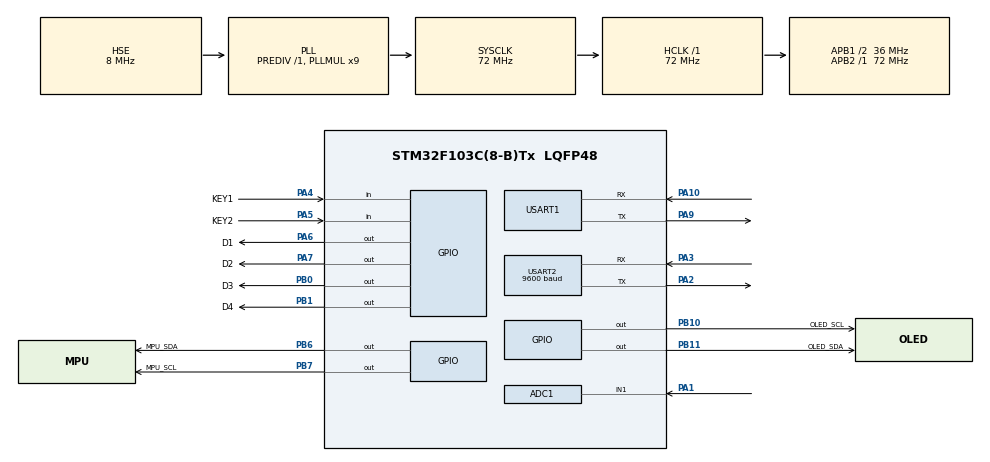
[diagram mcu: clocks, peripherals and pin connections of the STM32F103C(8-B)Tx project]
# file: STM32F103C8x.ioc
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ADC1.Channel-0\#ChannelRegularConversion=ADC_CHANNEL_1
ADC1.ContinuousConvMode=ENABLE
ADC1.NbrOfConversionFlag=1
ADC1.Rank-0\#ChannelRegularConversion=1
ADC1.SamplingTime-0\#ChannelRegularConversion=ADC_SAMPLETIME_1CYCLE_5
ADC1.master=1
Dma.ADC1.0.Direction=DMA_PERIPH_TO_MEMORY
Dma.ADC1.0.Instance=DMA1_Channel1
Dma.ADC1.0.MemDataAlignment=DMA_MDATAALIGN_HALFWORD
Dma.ADC1.0.MemInc=DMA_MINC_ENABLE
Dma.ADC1.0.Mode=DMA_NORMAL
Dma.ADC1.0.PeriphDataAlignment=DMA_PDATAALIGN_HALFWORD
Dma.ADC1.0.PeriphInc=DMA_PINC_DISABLE
Dma.ADC1.0.Priority=DMA_PRIORITY_LOW
Dma.Request0=ADC1
Mcu.Family=STM32F1
Mcu.Name=STM32F103C(8-B)Tx
Mcu.Package=LQFP48
NVIC.DMA1_Channel1_IRQn=true\:0\:0\:false\:false\:true\:false\:true
NVIC.PriorityGroup=NVIC_PRIORITYGROUP_4
NVIC.TIM2_IRQn=true\:1\:0\:true\:true\:true\:1\:true\:true
NVIC.USART1_IRQn=true\:5\:0\:true\:false\:true\:true\:true
NVIC.USART2_IRQn=true\:5\:0\:true\:true\:true\:2\:true\:true
PA1.Signal=ADCx_IN1
PA10.Mode=Asynchronous
PA10.Signal=USART1_RX
PA13.Mode=Serial_Wire
PA13.Signal=SYS_JTMS-SWDIO
PA14.Mode=Serial_Wire
PA14.Signal=SYS_JTCK-SWCLK
PA2.Mode=Asynchronous
PA2.Signal=USART2_TX
PA3.Mode=Asynchronous
PA3.Signal=USART2_RX
PA4.GPIO_Label=KEY1
PA4.GPIO_PuPd=GPIO_PULLUP
PA4.Signal=GPIO_Input
PA5.GPIO_Label=KEY2
PA5.GPIO_PuPd=GPIO_PULLUP
PA5.Signal=GPIO_Input
PA6.GPIO_Label=D1
PA6.PinState=GPIO_PIN_SET
PA6.Signal=GPIO_Output
PA7.GPIO_Label=D2
PA7.PinState=GPIO_PIN_SET
PA7.Signal=GPIO_Output
PA9.Mode=Asynchronous
PA9.Signal=USART1_TX
PB0.GPIO_Label=D3
PB0.PinState=GPIO_PIN_SET
PB0.Signal=GPIO_Output
PB1.GPIO_Label=D4
PB1.PinState=GPIO_PIN_SET
PB1.Signal=GPIO_Output
PB10.GPIO_Label=OLED_SCL
PB10.Signal=GPIO_Output
PB11.GPIO_Label=OLED_SDA
PB11.Signal=GPIO_Output
PB6.GPIO_Label=MPU_SDA
PB6.GPIO_ModeDefaultOutputPP=GPIO_MODE_OUTPUT_OD
PB6.Signal=GPIO_Output
PB7.GPIO_Label=MPU_SCL
PB7.GPIO_ModeDefaultOutputPP=GPIO_MODE_OUTPUT_OD
PB7.Signal=GPIO_Output
PD0-OSC_IN.Mode=HSE-External-Oscillator
PD0-OSC_IN.Signal=RCC_OSC_IN
PD1-OSC_OUT.Mode=HSE-External-Oscillator
PD1-OSC_OUT.Signal=RCC_OSC_OUT
ProjectManager.HeapSize=0x800
ProjectManager.StackSize=0x2000
ProjectManager.TargetToolchain=MDK-ARM V5
RCC.ADCPresc=RCC_ADCPCLK2_DIV6
RCC.AHBFreq_Value=72000000
RCC.APB1CLKDivider=RCC_HCLK_DIV2
RCC.APB1Freq_Value=36000000
RCC.APB1TimFreq_Value=72000000
RCC.APB2Freq_Value=72000000
RCC.APB2TimFreq_Value=72000000
RCC.HCLKFreq_Value=72000000
RCC.PLLMUL=RCC_PLL_MUL9
RCC.PLLSourceVirtual=RCC_PLLSOURCE_HSE
RCC.SYSCLKFreq_VALUE=72000000
RCC.SYSCLKSource=RCC_SYSCLKSOURCE_PLLCLK
RCC.USBFreq_Value=72000000
SH.ADCx_IN1.0=ADC1_IN1,IN1
TIM2.Period=10-1
TIM2.Prescaler=7200-1
USART1.VirtualMode=VM_ASYNC
USART2.BaudRate=9600
USART2.VirtualMode=VM_ASYNC
VP_TIM2_VS_ClockSourceINT.Mode=Internal
board=STM32F103C8x

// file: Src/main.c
/**
  ******************************************************************************
  * File Name          : main.c
  * Description        : Main program body
  ******************************************************************************
  ** This notice applies to any and all portions of this file
  * that are not between comment pairs USER CODE BEGIN and
  * USER CODE END. Other portions of this file, whether
  * inserted by the user or by software development tools
  * are owned by their respective copyright owners.
  *
  * COPYRIGHT(c) 2020 STMicroelectronics
  *
  * Redistribution and use in source and binary forms, with or without modification,
  * are permitted provided that the following conditions are met:
  *   1. Redistributions of source code must retain the above copyright notice,
  *      this list of conditions and the following disclaimer.
  *   2. Redistributions in binary form must reproduce the above copyright notice,
  *      this list of conditions and the following disclaimer in the documentation
  *      and/or other materials provided with the distribution.
  *   3. Neither the name of STMicroelectronics nor the names of its contributors
  *      may be used to endorse or promote products derived from this software
  *      without specific prior written permission.
  *
  * THIS SOFTWARE IS PROVIDED BY THE COPYRIGHT HOLDERS AND CONTRIBUTORS "AS IS"
  * AND ANY EXPRESS OR IMPLIED WARRANTIES, INCLUDING, BUT NOT LIMITED TO, THE
  * IMPLIED WARRANTIES OF MERCHANTABILITY AND FITNESS FOR A PARTICULAR PURPOSE ARE
  * DISCLAIMED. IN NO EVENT SHALL THE COPYRIGHT HOLDER OR CONTRIBUTORS BE LIABLE
  * FOR ANY DIRECT, INDIRECT, INCIDENTAL, SPECIAL, EXEMPLARY, OR CONSEQUENTIAL
  * DAMAGES (INCLUDING, BUT NOT LIMITED TO, PROCUREMENT OF SUBSTITUTE GOODS OR
  * SERVICES; LOSS OF USE, DATA, OR PROFITS; OR BUSINESS INTERRUPTION) HOWEVER
  * CAUSED AND ON ANY THEORY OF LIABILITY, WHETHER IN CONTRACT, STRICT LIABILITY,
  * OR TORT (INCLUDING NEGLIGENCE OR OTHERWISE) ARISING IN ANY WAY OUT OF THE USE
  * OF THIS SOFTWARE, EVEN IF ADVISED OF THE POSSIBILITY OF SUCH DAMAGE.
  *
  ******************************************************************************
  */
#include "main.h"
#include "stm32f1xx_hal.h"

/* USER CODE BEGIN Includes */
#include "hal_key.h"
#include "gizwits_product.h"
#include "common.h"
#include "MPU6050.h"
#include "GUI.h"
#include<stdio.h>
#include<stdlib.h>
/* USER CODE END Includes */

ADC_HandleTypeDef hadc1;
DMA_HandleTypeDef hdma_adc1;

TIM_HandleTypeDef htim2;

UART_HandleTypeDef huart1;
UART_HandleTypeDef huart2;

/* USER CODE BEGIN PV */
/* Private variables ---------------------------------------------------------*/
#define GPIO_KEY_NUM 2 ///< Defines the total number of key member
keyTypedef_t singleKey[GPIO_KEY_NUM]; ///< Defines a single key member array pointer
keysTypedef_t keys;
uint16_t adval=0;
uint16_t val[20];
/* USER CODE END PV */

void SystemClock_Config(void);
static void MX_GPIO_Init(void);
static void MX_DMA_Init(void);
static void MX_TIM2_Init(void);
static void MX_USART1_UART_Init(void);
static void MX_USART2_UART_Init(void);
static void MX_ADC1_Init(void);
static void MX_NVIC_Init(void);

/* USER CODE BEGIN PFP */
/* Private function prototypes -----------------------------------------------*/

/* USER CODE END PFP */

/* USER CODE BEGIN 0 */

void HAL_ADC_ConvCpltCallback(ADC_HandleTypeDef* hadc)
{
  int i;
  uint16_t sum = 0; // 20 次采集数据累加和
  for (i = 0; i < 20; ++i)
  sum += val[i];
  adval = sum / 20;// 均�?�滤�?
  }
/**
* key1 short press handle
* @param none
* @return none
*/
void key1ShortPress(void)
{
    GIZWITS_LOG("KEY1 PRESS ,Production Mode\n");
    gizwitsSetMode(WIFI_PRODUCTION_TEST);
}

/**
* key1 long press handle
* @param none
* @return none
*/
void key1LongPress(void)
{
    GIZWITS_LOG("KEY1 PRESS LONG ,Wifi Reset\n");
    gizwitsSetMode(WIFI_RESET_MODE);

}

/**
* key2 short press handle
* @param none
* @return none
*/
void key2ShortPress(void)
{
    GIZWITS_LOG("KEY2 PRESS ,Soft AP mode\n");
    #if !MODULE_TYPE
    gizwitsSetMode(WIFI_SOFTAP_MODE);
    #endif
}

/**
* key2 long press handle
* @param none
* @return none
*/
void key2LongPress(void)
{
    //AirLink mode
    GIZWITS_LOG("KEY2 PRESS LONG ,AirLink mode\n");
    #if !MODULE_TYPE
    gizwitsSetMode(WIFI_AIRLINK_MODE);
    #endif
}

/**
* Key init function
* @param none
* @return none
*/
void keyInit(void)
{
    singleKey[0] = keyInitOne(NULL, KEY1_GPIO_Port, KEY1_Pin, key1ShortPress, key1LongPress);
    singleKey[1] = keyInitOne(NULL, KEY2_GPIO_Port, KEY2_Pin, key2ShortPress, key2LongPress);
    keys.singleKey = (keyTypedef_t *)&singleKey;
    keyParaInit(&keys);
}

/* USER CODE END 0 */

int main(void)
{

  /* MCU Configuration----------------------------------------------------------*/

  /* Reset of all peripherals, Initializes the Flash interface and the Systick. */
  HAL_Init();

  /* Configure the system clock */
  SystemClock_Config();

  /* Initialize all configured peripherals */
  MX_GPIO_Init();
  MX_DMA_Init();
  MX_TIM2_Init();
  MX_USART1_UART_Init();
  MX_USART2_UART_Init();
  MX_ADC1_Init();

  /* Initialize interrupts */
  MX_NVIC_Init();

  /* USER CODE BEGIN 2 */
	timerInit();
	uartInit();

	userInit();
	gizwitsInit();
	keyInit();

	GIZWITS_LOG("MCU Init Success \n");
  HAL_ADC_Start_DMA(&hadc1, (uint32_t *)val, 20); // 启动 DMA 方式连续采集，每�? 20 个数据触发中�?
  if(MPU_init())
  {
    GIZWITS_LOG("MPU Success \n");
  }
  	GUI_Init();
    GUI_Clear();
    GUI_Update();
    char buf[30];

  /* USER CODE END 2 */

  /* Infinite loop */
  while (1)
  {

  /* USER CODE BEGIN 3 */
  GUI_Clear();
    sprintf(buf,"fAX:%.1f",fAZ);
    GUI_DispStringAt(buf,4,16);
     sprintf(buf,"fAY:%.1f",fAY);
    GUI_DispStringAt(buf,4,32);

    sprintf(buf,"fAZ:%.1f",fAX);
    GUI_DispStringAt(buf,4,48);
    GUI_Update();
		userHandle();
		gizwitsHandle((dataPoint_t *)&currentDataPoint);
  }
  /* USER CODE END 3 */

}

/** System Clock Configuration
*/
void SystemClock_Config(void)
{

  RCC_OscInitTypeDef RCC_OscInitStruct;
  RCC_ClkInitTypeDef RCC_ClkInitStruct;
  RCC_PeriphCLKInitTypeDef PeriphClkInit;

    /**Initializes the CPU, AHB and APB busses clocks
    */
  RCC_OscInitStruct.OscillatorType = RCC_OSCILLATORTYPE_HSE;
  RCC_OscInitStruct.HSEState = RCC_HSE_ON;
  RCC_OscInitStruct.HSEPredivValue = RCC_HSE_PREDIV_DIV1;
  RCC_OscInitStruct.HSIState = RCC_HSI_ON;
  RCC_OscInitStruct.PLL.PLLState = RCC_PLL_ON;
  RCC_OscInitStruct.PLL.PLLSource = RCC_PLLSOURCE_HSE;
  RCC_OscInitStruct.PLL.PLLMUL = RCC_PLL_MUL9;
  if (HAL_RCC_OscConfig(&RCC_OscInitStruct) != HAL_OK)
  {
    _Error_Handler(__FILE__, __LINE__);
  }

    /**Initializes the CPU, AHB and APB busses clocks
    */
  RCC_ClkInitStruct.ClockType = RCC_CLOCKTYPE_HCLK|RCC_CLOCKTYPE_SYSCLK
                              |RCC_CLOCKTYPE_PCLK1|RCC_CLOCKTYPE_PCLK2;
  RCC_ClkInitStruct.SYSCLKSource = RCC_SYSCLKSOURCE_PLLCLK;
  RCC_ClkInitStruct.AHBCLKDivider = RCC_SYSCLK_DIV1;
  RCC_ClkInitStruct.APB1CLKDivider = RCC_HCLK_DIV2;
  RCC_ClkInitStruct.APB2CLKDivider = RCC_HCLK_DIV1;

  if (HAL_RCC_ClockConfig(&RCC_ClkInitStruct, FLASH_LATENCY_2) != HAL_OK)
  {
    _Error_Handler(__FILE__, __LINE__);
  }

  PeriphClkInit.PeriphClockSelection = RCC_PERIPHCLK_ADC;
  PeriphClkInit.AdcClockSelection = RCC_ADCPCLK2_DIV6;
  if (HAL_RCCEx_PeriphCLKConfig(&PeriphClkInit) != HAL_OK)
  {
    _Error_Handler(__FILE__, __LINE__);
  }

    /**Configure the Systick interrupt time
    */
  HAL_SYSTICK_Config(HAL_RCC_GetHCLKFreq()/1000);

    /**Configure the Systick
    */
  HAL_SYSTICK_CLKSourceConfig(SYSTICK_CLKSOURCE_HCLK);

  /* SysTick_IRQn interrupt configuration */
  HAL_NVIC_SetPriority(SysTick_IRQn, 0, 0);
}

/** NVIC Configuration
*/
static void MX_NVIC_Init(void)
{
  /* TIM2_IRQn interrupt configuration */
  HAL_NVIC_SetPriority(TIM2_IRQn, 1, 0);
  HAL_NVIC_EnableIRQ(TIM2_IRQn);
  /* USART2_IRQn interrupt configuration */
  HAL_NVIC_SetPriority(USART2_IRQn, 5, 0);
  HAL_NVIC_EnableIRQ(USART2_IRQn);
}

/* ADC1 init function */
static void MX_ADC1_Init(void)
{

  ADC_ChannelConfTypeDef sConfig;

    /**Common config
    */
  hadc1.Instance = ADC1;
  hadc1.Init.ScanConvMode = ADC_SCAN_DISABLE;
  hadc1.Init.ContinuousConvMode = ENABLE;
  hadc1.Init.DiscontinuousConvMode = DISABLE;
  hadc1.Init.ExternalTrigConv = ADC_SOFTWARE_START;
  hadc1.Init.DataAlign = ADC_DATAALIGN_RIGHT;
  hadc1.Init.NbrOfConversion = 1;
  if (HAL_ADC_Init(&hadc1) != HAL_OK)
  {
    _Error_Handler(__FILE__, __LINE__);
  }

    /**Configure Regular Channel
    */
  sConfig.Channel = ADC_CHANNEL_1;
  sConfig.Rank = 1;
  sConfig.SamplingTime = ADC_SAMPLETIME_1CYCLE_5;
  if (HAL_ADC_ConfigChannel(&hadc1, &sConfig) != HAL_OK)
  {
    _Error_Handler(__FILE__, __LINE__);
  }

}

/* TIM2 init function */
static void MX_TIM2_Init(void)
{

  TIM_ClockConfigTypeDef sClockSourceConfig;
  TIM_MasterConfigTypeDef sMasterConfig;

  htim2.Instance = TIM2;
  htim2.Init.Prescaler = 7200-1;
  htim2.Init.CounterMode = TIM_COUNTERMODE_UP;
  htim2.Init.Period = 10-1;
  htim2.Init.ClockDivision = TIM_CLOCKDIVISION_DIV1;
  htim2.Init.AutoReloadPreload = TIM_AUTORELOAD_PRELOAD_DISABLE;
  if (HAL_TIM_Base_Init(&htim2) != HAL_OK)
  {
    _Error_Handler(__FILE__, __LINE__);
  }

  sClockSourceConfig.ClockSource = TIM_CLOCKSOURCE_INTERNAL;
  if (HAL_TIM_ConfigClockSource(&htim2, &sClockSourceConfig) != HAL_OK)
  {
    _Error_Handler(__FILE__, __LINE__);
  }

  sMasterConfig.MasterOutputTrigger = TIM_TRGO_RESET;
  sMasterConfig.MasterSlaveMode = TIM_MASTERSLAVEMODE_DISABLE;
  if (HAL_TIMEx_MasterConfigSynchronization(&htim2, &sMasterConfig) != HAL_OK)
  {
    _Error_Handler(__FILE__, __LINE__);
  }

}

/* USART1 init function */
static void MX_USART1_UART_Init(void)
{

  huart1.Instance = USART1;
  huart1.Init.BaudRate = 115200;
  huart1.Init.WordLength = UART_WORDLENGTH_8B;
  huart1.Init.StopBits = UART_STOPBITS_1;
  huart1.Init.Parity = UART_PARITY_NONE;
  huart1.Init.Mode = UART_MODE_TX_RX;
  huart1.Init.HwFlowCtl = UART_HWCONTROL_NONE;
  huart1.Init.OverSampling = UART_OVERSAMPLING_16;
  if (HAL_UART_Init(&huart1) != HAL_OK)
  {
    _Error_Handler(__FILE__, __LINE__);
  }

}

/* USART2 init function */
static void MX_USART2_UART_Init(void)
{

  huart2.Instance = USART2;
  huart2.Init.BaudRate = 9600;
  huart2.Init.WordLength = UART_WORDLENGTH_8B;
  huart2.Init.StopBits = UART_STOPBITS_1;
  huart2.Init.Parity = UART_PARITY_NONE;
  huart2.Init.Mode = UART_MODE_TX_RX;
  huart2.Init.HwFlowCtl = UART_HWCONTROL_NONE;
  huart2.Init.OverSampling = UART_OVERSAMPLING_16;
  if (HAL_UART_Init(&huart2) != HAL_OK)
  {
    _Error_Handler(__FILE__, __LINE__);
  }

}

static void MX_DMA_Init(void)
{
  /* DMA controller clock enable */
  __HAL_RCC_DMA1_CLK_ENABLE();

  /* DMA interrupt init */
  /* DMA1_Channel1_IRQn interrupt configuration */
  HAL_NVIC_SetPriority(DMA1_Channel1_IRQn, 0, 0);
  HAL_NVIC_EnableIRQ(DMA1_Channel1_IRQn);

}

/** Configure pins as
        * Analog
        * Input
        * Output
        * EVENT_OUT
        * EXTI
*/
static void MX_GPIO_Init(void)
{

  GPIO_InitTypeDef GPIO_InitStruct;

  /* GPIO Ports Clock Enable */
  __HAL_RCC_GPIOD_CLK_ENABLE();
  __HAL_RCC_GPIOA_CLK_ENABLE();
  __HAL_RCC_GPIOB_CLK_ENABLE();

  /*Configure GPIO pin Output Level */
  HAL_GPIO_WritePin(GPIOA, D1_Pin|D2_Pin, GPIO_PIN_SET);

  /*Configure GPIO pin Output Level */
  HAL_GPIO_WritePin(GPIOB, D3_Pin|D4_Pin, GPIO_PIN_SET);

  /*Configure GPIO pin Output Level */
  HAL_GPIO_WritePin(GPIOB, OLED_SCL_Pin|OLED_SDA_Pin|MPU_SDA_Pin|MPU_SCL_Pin, GPIO_PIN_RESET);

  /*Configure GPIO pins : KEY1_Pin KEY2_Pin */
  GPIO_InitStruct.Pin = KEY1_Pin|KEY2_Pin;
  GPIO_InitStruct.Mode = GPIO_MODE_INPUT;
  GPIO_InitStruct.Pull = GPIO_PULLUP;
  HAL_GPIO_Init(GPIOA, &GPIO_InitStruct);

  /*Configure GPIO pins : D1_Pin D2_Pin */
  GPIO_InitStruct.Pin = D1_Pin|D2_Pin;
  GPIO_InitStruct.Mode = GPIO_MODE_OUTPUT_PP;
  GPIO_InitStruct.Speed = GPIO_SPEED_FREQ_LOW;
  HAL_GPIO_Init(GPIOA, &GPIO_InitStruct);

  /*Configure GPIO pins : D3_Pin D4_Pin OLED_SCL_Pin OLED_SDA_Pin */
  GPIO_InitStruct.Pin = D3_Pin|D4_Pin|OLED_SCL_Pin|OLED_SDA_Pin;
  GPIO_InitStruct.Mode = GPIO_MODE_OUTPUT_PP;
  GPIO_InitStruct.Speed = GPIO_SPEED_FREQ_LOW;
  HAL_GPIO_Init(GPIOB, &GPIO_InitStruct);

  /*Configure GPIO pins : MPU_SDA_Pin MPU_SCL_Pin */
  GPIO_InitStruct.Pin = MPU_SDA_Pin|MPU_SCL_Pin;
  GPIO_InitStruct.Mode = GPIO_MODE_OUTPUT_OD;
  GPIO_InitStruct.Speed = GPIO_SPEED_FREQ_LOW;
  HAL_GPIO_Init(GPIOB, &GPIO_InitStruct);

}

void _Error_Handler(char * file, int line)
{
  while(1)
  {
  }
}

/************************ (C) COPYRIGHT STMicroelectronics *****END OF FILE****/
